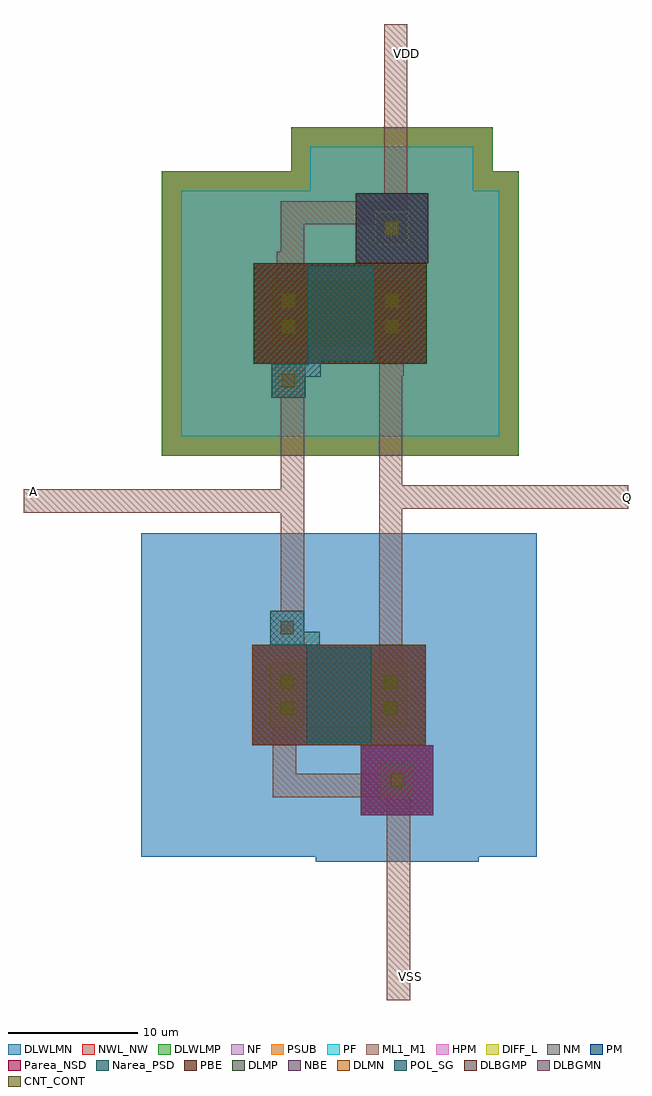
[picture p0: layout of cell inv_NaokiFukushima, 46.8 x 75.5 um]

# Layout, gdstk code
import gdstk
lib = gdstk.Library(unit=1e-6, precision=1e-07)
def R(c, l, rs):  # rectangles x0, y0, x1, y1
    for r in rs: c.add(gdstk.rectangle(r[:2], r[2:], *l))
DIFF_L = (3, 0)
NM = (7, 0)
POL_SG = (8, 0)
Narea_PSD = (9, 0)
CNT_CONT = (11, 0)
ML1_M1 = (13, 0)
NF = (25, 0)
PF = (26, 0)
Parea_NSD = (28, 0)
HPM = (33, 0)
PM = (35, 0)
NWL_NW = (36, 0)
PSUB = (140, 0)
PBE = (146, 0)
NBE = (147, 0)
DLWLMP = (150, 0)
DLWLMN = (151, 0)
DLMP = (157, 0)
DLMN = (158, 0)
DLBGMP = (177, 0)
DLBGMN = (178, 0)

dcont = lib.new_cell('dcont')
R(dcont, DIFF_L, [(-1.3,-1.3,1.3,1.3)])
R(dcont, CNT_CONT, [(-0.5,-0.5,0.5,0.5)])
R(dcont, ML1_M1, [(-1.3,-1.3,1.3,1.3), (-0.5,-0.5,0.5,0.5)])

pcont = lib.new_cell('pcont')
R(pcont, POL_SG, [(-1.3,-1.3,1.3,1.3)])
R(pcont, CNT_CONT, [(-0.5,-0.5,0.5,0.5)])
R(pcont, ML1_M1, [(-1.3,-1.3,1.3,1.3), (-0.5,-0.5,0.5,0.5)])

c_dcont = lib.new_cell('DCONT')
R(c_dcont, DIFF_L, [(-1.3,-1.3,1.3,1.3)])
R(c_dcont, CNT_CONT, [(-0.5,-0.5,0.5,0.5)])
R(c_dcont, ML1_M1, [(-1.3,-1.3,1.3,1.3), (-0.5,-0.5,0.5,0.5)])

nsubcont = lib.new_cell('nsubcont')
R(nsubcont, NM, [(-2.8,-2.7,2.8,2.7)])
R(nsubcont, Narea_PSD, [(-2.8,-2.7,2.8,2.7)])
R(nsubcont, NF, [(-6.3,-6.3,6.3,6.3)])
R(nsubcont, PF, [(-6.3,-6.3,6.3,6.3)])
R(nsubcont, HPM, [(-2.8,-2.7,2.8,2.7)])
R(nsubcont, PM, [(-2.8,-2.7,2.8,2.7)])
R(nsubcont, NWL_NW, [(-7.8,-7.8,7.8,7.8)])
R(nsubcont, PSUB, [(-6.3,-6.3,6.3,6.3)])
R(nsubcont, DLWLMP, [(-7.8,-7.8,7.8,7.8)])
R(nsubcont, DLBGMP, [(-2.8,-2.7,2.8,2.7)])
nsubcont.add(gdstk.Reference(c_dcont, (0,0)))

mp_1 = lib.new_cell('MP$1')
R(mp_1, DIFF_L, [(0,3.6,10.6,8.6)])
R(mp_1, NM, [(-1.4,2.2,12,10)])
R(mp_1, NF, [(-7,-3.4,17.6,15.6)])
R(mp_1, PF, [(-7,-3.4,17.6,15.6)])
R(mp_1, Parea_NSD, [(-1.4,2.2,12,10)])
R(mp_1, HPM, [(-1.4,2.2,12,10)])
R(mp_1, NWL_NW, [(-8.5,-4.9,19.1,17.1)])
R(mp_1, PSUB, [(-7,-3.4,17.6,15.6)])
R(mp_1, PBE, [(-1.4,2.2,12,10)])
R(mp_1, DLWLMP, [(-8.5,-4.9,19.1,17.1)])
R(mp_1, DLMP, [(-1.4,2.2,12,10)])
mp_1.add(gdstk.FlexPath([(1.3,3.6),(1.3,8.6)], 2.6, ends="flush", simple_path=True, layer=13, datatype=0))  # ML1_M1
mp_1.add(gdstk.FlexPath([(9.3,3.6),(9.3,8.6)], 2.6, ends="flush", simple_path=True, layer=13, datatype=0))  # ML1_M1
mp_1.add(gdstk.FlexPath([(1.3,7.6),(1.3,10.9)], 1.8, ends="flush", simple_path=True, layer=13, datatype=0))  # ML1_M1
mp_1.add(gdstk.FlexPath([(9.3,1.3),(9.3,4.6)], 1.8, ends="flush", simple_path=True, layer=13, datatype=0))  # ML1_M1
mp_1.add(gdstk.FlexPath([(5.3,3.6),(5.3,8.6)], 5, ends=(1.2, 1.2), simple_path=True, layer=8, datatype=0))  # POL_SG
mp_1.add(gdstk.FlexPath([(1.3,1.7),(3.3,1.7),(3.3,2.4)], 1, ends="flush", simple_path=True, layer=8, datatype=0))  # POL_SG
mp_1.add(gdstk.Reference(dcont, (1.3,5.1)))
mp_1.add(gdstk.Reference(dcont, (1.3,7.1)))
mp_1.add(gdstk.Reference(dcont, (9.3,5.1)))
mp_1.add(gdstk.Reference(dcont, (9.3,7.1)))
mp_1.add(gdstk.Reference(pcont, (1.3,0.9)))
mp_1.add(gdstk.Reference(nsubcont, (9.3,12.7)))

psubcont = lib.new_cell('psubcont')
R(psubcont, NM, [(-2.8,-2.7,2.8,2.7)])
R(psubcont, Parea_NSD, [(-2.8,-2.7,2.8,2.7)])
R(psubcont, HPM, [(-2.8,-2.7,2.8,2.7)])
R(psubcont, PM, [(-2.8,-2.7,2.8,2.7)])
R(psubcont, DLWLMN, [(-6.3,-6.3,6.3,6.3)])
R(psubcont, DLBGMN, [(-2.8,-2.7,2.8,2.7)])
psubcont.add(gdstk.Reference(c_dcont, (0,0)))

c_mn = lib.new_cell('MN')
R(c_mn, DIFF_L, [(0,3.6,10.6,8.6)])
R(c_mn, Narea_PSD, [(-1.4,2.2,12,10)])
R(c_mn, HPM, [(-1.4,2.2,12,10)])
R(c_mn, PM, [(-1.4,2.2,12,10)])
R(c_mn, NBE, [(-1.4,2.2,12,10)])
R(c_mn, DLWLMN, [(-10,-6.4,20.6,18.6)])
R(c_mn, DLMN, [(-1.4,2.2,12,10)])
c_mn.add(gdstk.FlexPath([(1.3,3.6),(1.3,8.6)], 2.6, ends="flush", simple_path=True, layer=13, datatype=0))  # ML1_M1
c_mn.add(gdstk.FlexPath([(9.3,3.6),(9.3,8.6)], 2.6, ends="flush", simple_path=True, layer=13, datatype=0))  # ML1_M1
c_mn.add(gdstk.FlexPath([(5.3,3.6),(5.3,8.6)], 5, ends=(1.2, 1.2), simple_path=True, layer=8, datatype=0))  # POL_SG
c_mn.add(gdstk.FlexPath([(1.3,10.5),(3.3,10.5),(3.3,9.8)], 1, ends="flush", simple_path=True, layer=8, datatype=0))  # POL_SG
c_mn.add(gdstk.Reference(dcont, (1.3,5.1)))
c_mn.add(gdstk.Reference(dcont, (1.3,7.1)))
c_mn.add(gdstk.Reference(dcont, (9.3,5.1)))
c_mn.add(gdstk.Reference(dcont, (9.3,7.1)))
c_mn.add(gdstk.Reference(pcont, (1.3,11.3)))
c_mn.add(gdstk.Reference(psubcont, (9.8,-0.5)))

inv_naokifukushima = lib.new_cell('inv_NaokiFukushima')
inv_naokifukushima.add(gdstk.FlexPath([(-7.2,47.7),(-7.2,28.3)], 1.8, ends="flush", simple_path=True, layer=13, datatype=0))  # ML1_M1
inv_naokifukushima.add(gdstk.FlexPath([(0.4,53.1),(0.4,22.4)], 1.8, ends="flush", simple_path=True, layer=13, datatype=0))  # ML1_M1
inv_naokifukushima.add(gdstk.FlexPath([(-7.3,38.3),(-28,38.3)], 1.8, ends="flush", simple_path=True, layer=13, datatype=0))  # ML1_M1
inv_naokifukushima.add(gdstk.FlexPath([(-7.8,23.6),(-7.8,16.3),(1,16.3),(1,-0.3)], 1.8, ends="flush", simple_path=True, layer=13, datatype=0))  # ML1_M1
inv_naokifukushima.add(gdstk.FlexPath([(0.4,38.6),(18.8,38.6)], 1.8, ends="flush", simple_path=True, layer=13, datatype=0))  # ML1_M1
inv_naokifukushima.add(gdstk.FlexPath([(-7.2,52.7),(-7.2,60.6),(0.8,60.6),(0.8,75.2)], 1.8, ends="flush", simple_path=True, layer=13, datatype=0))  # ML1_M1
inv_naokifukushima.add(gdstk.Reference(mp_1, (-8.8,46.7)))
inv_naokifukushima.add(gdstk.Reference(c_mn, (-8.9,17.2)))
inv_naokifukushima.add(gdstk.Label('Q', (18.7,38.6), layer=13, texttype=0))
inv_naokifukushima.add(gdstk.Label('A', (-27.2,39), layer=13, texttype=0))
inv_naokifukushima.add(gdstk.Label('VDD', (1.6,72.9), layer=13, texttype=0))
inv_naokifukushima.add(gdstk.Label('VSS', (1.9,1.5), layer=13, texttype=0))

lib.write_gds('inv_NaokiFukushima.gds')
